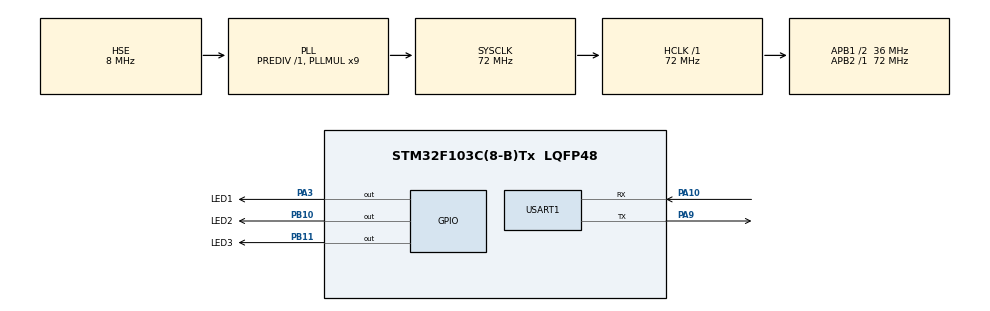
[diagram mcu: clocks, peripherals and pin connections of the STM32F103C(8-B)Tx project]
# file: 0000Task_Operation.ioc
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FREERTOS.Tasks01=defaultTask,0,128,StartDefaultTask,Default,NULL,Dynamic,NULL,NULL
Mcu.Family=STM32F1
Mcu.Name=STM32F103C(8-B)Tx
Mcu.Package=LQFP48
NVIC.PriorityGroup=NVIC_PRIORITYGROUP_4
NVIC.TIM4_IRQn=true\:15\:0\:false\:false\:true\:false\:false\:true
NVIC.TimeBase=TIM4_IRQn
NVIC.TimeBaseIP=TIM4
PA10.Mode=Asynchronous
PA10.Signal=USART1_RX
PA13.Mode=Serial_Wire
PA13.Signal=SYS_JTMS-SWDIO
PA14.Mode=Serial_Wire
PA14.Signal=SYS_JTCK-SWCLK
PA3.GPIO_Label=LED1
PA3.Signal=GPIO_Output
PA9.Mode=Asynchronous
PA9.Signal=USART1_TX
PB10.GPIO_Label=LED2
PB10.Signal=GPIO_Output
PB11.GPIO_Label=LED3
PB11.Signal=GPIO_Output
PD0-OSC_IN.Mode=HSE-External-Oscillator
PD0-OSC_IN.Signal=RCC_OSC_IN
PD1-OSC_OUT.Mode=HSE-External-Oscillator
PD1-OSC_OUT.Signal=RCC_OSC_OUT
ProjectManager.HeapSize=0x200
ProjectManager.StackSize=0x400
ProjectManager.TargetToolchain=STM32CubeIDE
RCC.AHBFreq_Value=72000000
RCC.APB1CLKDivider=RCC_HCLK_DIV2
RCC.APB1Freq_Value=36000000
RCC.APB1TimFreq_Value=72000000
RCC.APB2Freq_Value=72000000
RCC.APB2TimFreq_Value=72000000
RCC.HCLKFreq_Value=72000000
RCC.PLLMUL=RCC_PLL_MUL9
RCC.PLLSourceVirtual=RCC_PLLSOURCE_HSE
RCC.SYSCLKFreq_VALUE=72000000
RCC.SYSCLKSource=RCC_SYSCLKSOURCE_PLLCLK
RCC.USBFreq_Value=72000000
USART1.VirtualMode=VM_ASYNC
VP_FREERTOS_VS_CMSIS_V1.Mode=CMSIS_V1
VP_SYS_VS_tim4.Mode=TIM4
board=custom

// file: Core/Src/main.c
/* USER CODE BEGIN Header */
/**
  ******************************************************************************
  * @file           : main.c
  * @brief          : Main program body
  ******************************************************************************
  * @attention
  *
  * <h2><center>&copy; Copyright (c) 2022 STMicroelectronics.
  * All rights reserved.</center></h2>
  *
  * This software component is licensed by ST under BSD 3-Clause license,
  * the "License"; You may not use this file except in compliance with the
  * License. You may obtain a copy of the License at:
  *                        opensource.org/licenses/BSD-3-Clause
  *
  ******************************************************************************
  */
/* USER CODE END Header */
#include "main.h"
#include "cmsis_os.h"

/* USER CODE BEGIN Includes */
#include <stdio.h>
/* USER CODE END Includes */

UART_HandleTypeDef huart1;

osThreadId defaultTaskHandle;
/* USER CODE BEGIN PV */
osThreadId VanThoTaskHandle;
/* USER CODE END PV */

void SystemClock_Config(void);
static void MX_GPIO_Init(void);
static void MX_USART1_UART_Init(void);
void StartDefaultTask(void const * argument);

/* USER CODE BEGIN PFP */
void TaskvanTho(void const * argument);
/* USER CODE END PFP */

/* USER CODE BEGIN 0 */

#ifdef __GNUC__
#define PUTCHAR_PROTOTYPE int __io_putchar(int ch)
#else
#define PUTCHAR_PROTOTYPE int fputc(int ch, FILE *f)
#endif /* __GNUC__ */
/**
* @brief Retargets the C library printf function to the USART.
* @param None
* @retval None
*/
PUTCHAR_PROTOTYPE
{
	HAL_UART_Transmit(&huart1, (uint8_t *)&ch, 1, 100);
	return ch;
}

/* USER CODE END 0 */

int main(void)
{

  /* MCU Configuration--------------------------------------------------------*/

  /* Reset of all peripherals, Initializes the Flash interface and the Systick. */
  HAL_Init();

  /* Configure the system clock */
  SystemClock_Config();

  /* Initialize all configured peripherals */
  MX_GPIO_Init();
  MX_USART1_UART_Init();

  /* Create the thread(s) */
  /* definition and creation of defaultTask */
  osThreadDef(defaultTask, StartDefaultTask, osPriorityNormal, 0, 128);
  defaultTaskHandle = osThreadCreate(osThread(defaultTask), NULL);

  /* USER CODE BEGIN RTOS_THREADS */
    osThreadDef(Task1, TaskvanTho, osPriorityNormal, 1, 128);
    VanThoTaskHandle = osThreadCreate(osThread(Task1), NULL);
  /* add threads, ... */
  /* USER CODE END RTOS_THREADS */

  /* Start scheduler */
  osKernelStart();

  /* We should never get here as control is now taken by the scheduler */
  /* Infinite loop */
  while (1)
  {

  }
}

void SystemClock_Config(void)
{
  RCC_OscInitTypeDef RCC_OscInitStruct = {0};
  RCC_ClkInitTypeDef RCC_ClkInitStruct = {0};

  /** Initializes the RCC Oscillators according to the specified parameters
  * in the RCC_OscInitTypeDef structure.
  */
  RCC_OscInitStruct.OscillatorType = RCC_OSCILLATORTYPE_HSE;
  RCC_OscInitStruct.HSEState = RCC_HSE_ON;
  RCC_OscInitStruct.HSEPredivValue = RCC_HSE_PREDIV_DIV1;
  RCC_OscInitStruct.HSIState = RCC_HSI_ON;
  RCC_OscInitStruct.PLL.PLLState = RCC_PLL_ON;
  RCC_OscInitStruct.PLL.PLLSource = RCC_PLLSOURCE_HSE;
  RCC_OscInitStruct.PLL.PLLMUL = RCC_PLL_MUL9;
  if (HAL_RCC_OscConfig(&RCC_OscInitStruct) != HAL_OK)
  {
    Error_Handler();
  }
  /** Initializes the CPU, AHB and APB buses clocks
  */
  RCC_ClkInitStruct.ClockType = RCC_CLOCKTYPE_HCLK|RCC_CLOCKTYPE_SYSCLK
                              |RCC_CLOCKTYPE_PCLK1|RCC_CLOCKTYPE_PCLK2;
  RCC_ClkInitStruct.SYSCLKSource = RCC_SYSCLKSOURCE_PLLCLK;
  RCC_ClkInitStruct.AHBCLKDivider = RCC_SYSCLK_DIV1;
  RCC_ClkInitStruct.APB1CLKDivider = RCC_HCLK_DIV2;
  RCC_ClkInitStruct.APB2CLKDivider = RCC_HCLK_DIV1;

  if (HAL_RCC_ClockConfig(&RCC_ClkInitStruct, FLASH_LATENCY_2) != HAL_OK)
  {
    Error_Handler();
  }
}

static void MX_USART1_UART_Init(void)
{

  huart1.Instance = USART1;
  huart1.Init.BaudRate = 115200;
  huart1.Init.WordLength = UART_WORDLENGTH_8B;
  huart1.Init.StopBits = UART_STOPBITS_1;
  huart1.Init.Parity = UART_PARITY_NONE;
  huart1.Init.Mode = UART_MODE_TX_RX;
  huart1.Init.HwFlowCtl = UART_HWCONTROL_NONE;
  huart1.Init.OverSampling = UART_OVERSAMPLING_16;
  if (HAL_UART_Init(&huart1) != HAL_OK)
  {
    Error_Handler();
  }

}

static void MX_GPIO_Init(void)
{
  GPIO_InitTypeDef GPIO_InitStruct = {0};

  /* GPIO Ports Clock Enable */
  __HAL_RCC_GPIOD_CLK_ENABLE();
  __HAL_RCC_GPIOA_CLK_ENABLE();
  __HAL_RCC_GPIOB_CLK_ENABLE();

  /*Configure GPIO pin Output Level */
  HAL_GPIO_WritePin(LED1_GPIO_Port, LED1_Pin, GPIO_PIN_RESET);

  /*Configure GPIO pin Output Level */
  HAL_GPIO_WritePin(GPIOB, LED2_Pin|LED3_Pin, GPIO_PIN_RESET);

  /*Configure GPIO pin : LED1_Pin */
  GPIO_InitStruct.Pin = LED1_Pin;
  GPIO_InitStruct.Mode = GPIO_MODE_OUTPUT_PP;
  GPIO_InitStruct.Pull = GPIO_NOPULL;
  GPIO_InitStruct.Speed = GPIO_SPEED_FREQ_LOW;
  HAL_GPIO_Init(LED1_GPIO_Port, &GPIO_InitStruct);

  /*Configure GPIO pins : LED2_Pin LED3_Pin */
  GPIO_InitStruct.Pin = LED2_Pin|LED3_Pin;
  GPIO_InitStruct.Mode = GPIO_MODE_OUTPUT_PP;
  GPIO_InitStruct.Pull = GPIO_NOPULL;
  GPIO_InitStruct.Speed = GPIO_SPEED_FREQ_LOW;
  HAL_GPIO_Init(GPIOB, &GPIO_InitStruct);

}

/* USER CODE BEGIN 4 */
void TaskvanTho(void const * argument)
{
  /* USER CODE BEGIN 5 */
  /* Infinite loop */
	uint32_t j=0;
  for(;;)
  {
	HAL_GPIO_TogglePin(LED3_GPIO_Port, LED3_Pin);
	j++;
    osDelay(1000);
    if(j ==5)
    {
    	vTaskSuspend(VanThoTaskHandle);
    }
    if(j == 8)
    {
    	vTaskDelete(defaultTaskHandle);
    }
  }
  /* USER CODE END 5 */
}
/* USER CODE END 4 */

void StartDefaultTask(void const * argument)
{
  /* USER CODE BEGIN 5 */
  /* Infinite loop */
	uint8_t j=0;
  for(;;)
  {
	HAL_GPIO_TogglePin(LED3_GPIO_Port, LED3_Pin);
	printf("hello van tho 15 %d \n", j);
	j++;
    osDelay(1000);
    if(j ==5)
    {
    	vTaskSuspend(VanThoTaskHandle);
    }
    if(j == 8)
    {
    	vTaskDelete(defaultTaskHandle);
    }
  }
  /* USER CODE END 5 */
}

void HAL_TIM_PeriodElapsedCallback(TIM_HandleTypeDef *htim)
{
  if (htim->Instance == TIM4) {
    HAL_IncTick();
  }
}

void Error_Handler(void)
{
  __disable_irq();
  while (1)
  {
  }
}

/************************ (C) COPYRIGHT STMicroelectronics *****END OF FILE****/
